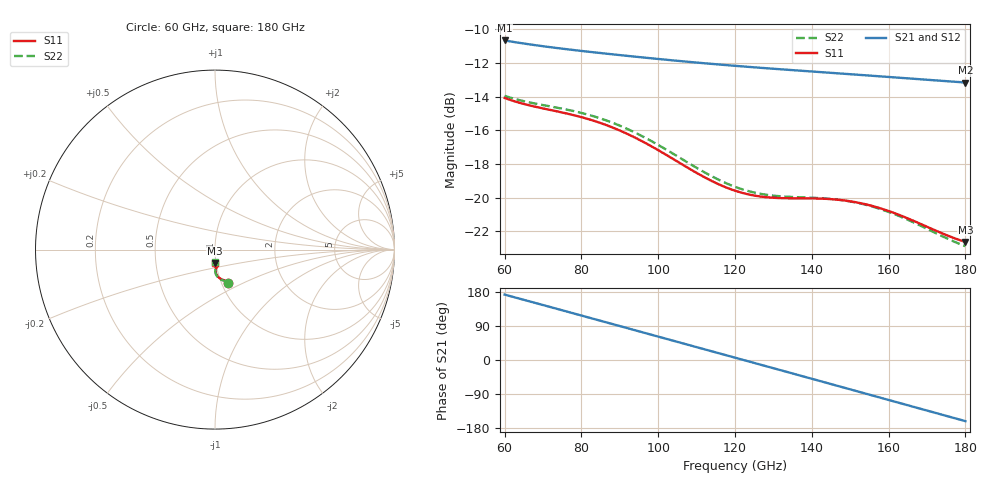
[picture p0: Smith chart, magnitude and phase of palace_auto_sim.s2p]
#  GHZ S DB R 50
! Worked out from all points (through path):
!   101 points, 60 GHz to 180 GHz, reference 50 ohm
!   highest |S21| = -10.67 dB at 60 GHz (marker M1); lowest = -13.2 dB at 180 GHz (marker M2)
!   group delay of S21, straight-line fit = 7.73 ps
!   lowest |S11| = -22.6 dB at 180 GHz (marker M3), VSWR 1.16, Z = 49.4 - j7.34 ohm
!   |S11| at or under -10 dB: start of sweep to end of sweep
!   |S22| runs from -22.9 to -14.0 dB; largest |S21 - S12| = 3.9e-13
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60  -14.08 -69.3  -10.67 172.6  -10.67 172.6  -13.96 -68.2
64.8  -14.43 -69.9  -10.84 159.4  -10.84 159.4  -14.26 -68.9
69.6  -14.68 -71.1  -11.00 146.1  -11.00 146.1  -14.49 -70.2
75.6  -14.98 -73.5  -11.17 129.5  -11.17 129.5  -14.75 -72.7
80.4  -15.25 -76.0  -11.30 116.2  -11.30 116.2  -15.00 -75.4
85.2  -15.59 -78.8  -11.42 102.9  -11.42 102.9  -15.32 -78.4
90  -16.02 -81.7  -11.54 89.6  -11.54 89.6  -15.73 -81.4
94.8  -16.53 -84.3  -11.65 76.2  -11.65 76.2  -16.23 -84.3
100.8  -17.29 -86.9  -11.79 59.5  -11.79 59.5  -16.98 -87.2
110.4  -18.58 -88.4  -11.99 32.8  -11.99 32.8  -18.28 -89.3
115.2  -19.15 -87.8  -12.08 19.5  -12.08 19.5  -18.88 -89.0
120  -19.59 -86.6  -12.17 6.2  -12.17 6.2  -19.36 -88.0
124.8  -19.87 -85.2  -12.26 -7.2  -12.26 -7.2  -19.69 -86.7
129.6  -20.00 -84.1  -12.34 -20.5  -12.34 -20.5  -19.87 -85.6
134.4  -20.04 -83.7  -12.42 -33.9  -12.42 -33.9  -19.96 -85.2
140.4  -20.05 -84.3  -12.52 -50.6  -12.52 -50.6  -20.01 -85.6
146.4  -20.12 -86.0  -12.61 -67.4  -12.61 -67.4  -20.11 -87.1
151.2  -20.26 -87.8  -12.69 -80.8  -12.69 -80.8  -20.28 -88.8
156  -20.51 -89.7  -12.77 -94.2  -12.77 -94.2  -20.55 -90.6
160.8  -20.86 -91.3  -12.85 -107.7  -12.85 -107.7  -20.92 -92.2
170.4  -21.77 -92.7  -13.01 -134.5  -13.01 -134.5  -21.90 -93.6
180  -22.63 -90.3  -13.17 -161.3  -13.17 -161.3  -22.88 -91.1
